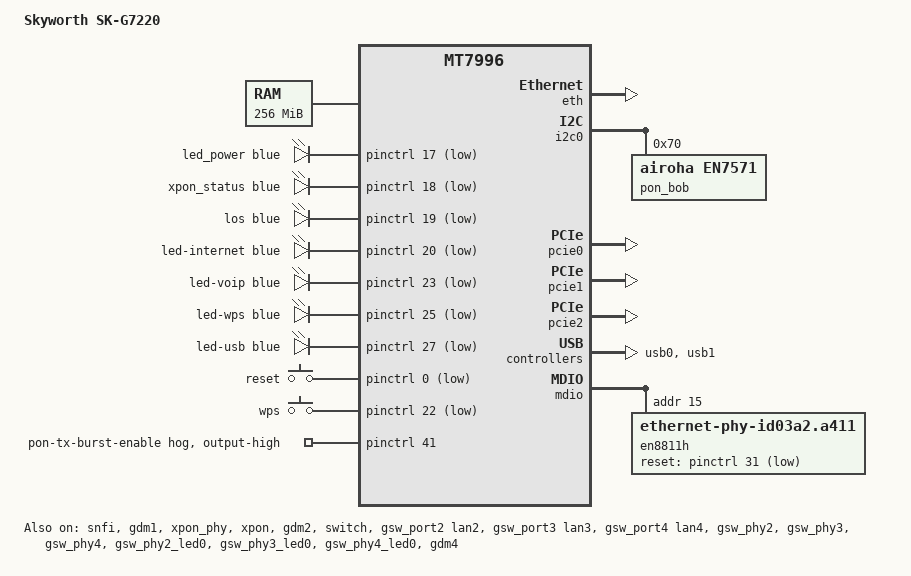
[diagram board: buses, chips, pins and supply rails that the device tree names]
// SPDX-License-Identifier: (GPL-2.0-only OR BSD-2-Clause)
/dts-v1/;

#include <dt-bindings/input/input.h>

#include "an7581.dtsi"
#include "an7581-npu-mt7996.dtsi"

/ {
	model = "Skyworth SK-G7220";
	compatible = "skyworth,sk-g7220", "airoha,an7581";

	aliases {
		serial0 = &uart1;
		led-boot = &led_power;
		led-failsafe = &led_power;
		led-running = &led_power;
		led-upgrade = &led_power;
	};

	chosen {
		stdout-path = "serial0:115200n8";
	};

	memory@80000000 {
		device_type = "memory";
		reg = <0x0 0x80000000 0x0 0x10000000>;
	};

	leds {
		compatible = "gpio-leds";

		led_power: led-power {
			gpios = <&pinctrl 17 GPIO_ACTIVE_LOW>;
			color = <LED_COLOR_ID_BLUE>;
			function = LED_FUNCTION_STATUS;
			function-enumerator = <17>;
			default-state = "on";
		};

		xpon_status: led-pon {
			gpios = <&pinctrl 18 GPIO_ACTIVE_LOW>;
			color = <LED_COLOR_ID_BLUE>;
			function = LED_FUNCTION_XPON;
			function-enumerator = <18>;
		};

		los: led-los {
			gpios = <&pinctrl 19 GPIO_ACTIVE_LOW>;
			color = <LED_COLOR_ID_BLUE>;
			function = LED_FUNCTION_XPON_LOS;
			function-enumerator = <19>;
		};

		led-internet {
			gpios = <&pinctrl 20 GPIO_ACTIVE_LOW>;
			color = <LED_COLOR_ID_BLUE>;
			function = LED_FUNCTION_WAN;
			function-enumerator = <20>;
		};

		led-voip {
			gpios = <&pinctrl 23 GPIO_ACTIVE_LOW>;
			color = <LED_COLOR_ID_BLUE>;
			function = LED_FUNCTION_VOIP;
			function-enumerator = <23>;
		};

		led-wps {
			gpios = <&pinctrl 25 GPIO_ACTIVE_LOW>;
			color = <LED_COLOR_ID_BLUE>;
			function = LED_FUNCTION_WPS;
			function-enumerator = <25>;
		};

		led-usb {
			gpios = <&pinctrl 27 GPIO_ACTIVE_LOW>;
			color = <LED_COLOR_ID_BLUE>;
			function = LED_FUNCTION_USB;
			function-enumerator = <27>;
		};
	};

	keys {
		/* OEM firmware polls these pins every 100 ms. */
		compatible = "gpio-keys-polled";
		poll-interval = <100>;

		key-reset {
			label = "reset";
			gpios = <&pinctrl 0 GPIO_ACTIVE_LOW>;
			linux,code = <KEY_RESTART>;
		};

		key-wps {
			label = "wps";
			gpios = <&pinctrl 22 GPIO_ACTIVE_LOW>;
			linux,code = <KEY_WPS_BUTTON>;
		};
	};
};

&pinctrl {
	mdio_pins: mdio-pins {
		mux {
			function = "mdio";
			groups = "mdio";
		};
	};

	/*
	 * OEM second GPIO bank, line 9 => GPIO line 41.
	 * The stock firmware exposes this signal as "phy_tx_ben" and
	 * configures it high by default. It is NOT an indicator LED.
	 * WARNING: output-high actively drives the line; confirm the
	 * board circuitry and burst control before connecting the PON.
	 */
	pon_tx_ben_hog: pon-tx-burst-enable-hog {
		gpio-hog;
		gpios = <41 GPIO_ACTIVE_HIGH>;
		output-high;
		line-name = "pon-tx-burst-enable";
	};
};

&snfi {
	status = "okay";
};

&spi_nand {
	/* OEM partition layout; do not flash a normal OpenWrt sysupgrade. */
	partitions {
		compatible = "fixed-partitions";
		#address-cells = <1>;
		#size-cells = <1>;

		partition@0 {
			label = "bootloader";
			reg = <0x00000000 0x00080000>;
			read-only;
		};

		partition@80000 {
			label = "tclinux";
			reg = <0x00080000 0x03c00000>;
			read-only;
		};

		partition@3c80000 {
			label = "tclinux_slave";
			reg = <0x03c80000 0x03c00000>;
			read-only;
		};

		partition@7880000 {
			label = "rootfs_data";
			reg = <0x07880000 0x00800000>;
			read-only;
		};

		partition@8080000 {
			label = "ubifs";
			reg = <0x08080000 0x02000000>;
			read-only;
		};

		partition@a080000 {
			label = "others";
			reg = <0x0a080000 0x00200000>;
			read-only;
		};

		/*
		 * mtd10 matches the full-flash dump at 0x0dc80000, byte-for-byte.
		 * The OEM DTB used a dynamic offset of 0xffffffff, so its
		 * node name is NOT reliable for the real start address.
		 * Keep board-specific calibration and identity data read-only.
		 * An unused 58 MiB gap precedes this partition; do not
		 * reclaim it without validating the OEM bootloader layout.
		 */
		partition@dc80000 {
			label = "art";
			reg = <0x0dc80000 0x00380000>;
			read-only;

			nvmem-layout {
				compatible = "fixed-layout";
				#address-cells = <1>;
				#size-cells = <1>;

				macaddr: macaddr@4f100 {
					reg = <0x000000 0x11>;
					compatible = "mac-base";
					#nvmem-cell-cells = <1>;
				};

				eeprom: eeprom@80000 {
					reg = <0x040000 0x1000>;
				};

				bob_calibration: bob_calibration@c0000 {
					reg = <0x260000 0xff>;
				};
			};
		};
	};
};

&eth {
	status = "okay";
};

&gdm1 {
	status = "okay";

	nvmem-cells = <&macaddr 0>;
	nvmem-cell-names = "mac-address";
};

&i2c0 {
	status = "okay";

	pon_bob: bob@70 {
		compatible = "airoha,en7571";
		reg = <0x70>;

		nvmem-cells = <&bob_calibration>;
		nvmem-cell-names = "calibration";

		#optical-frontend-cells = <0>;
	};
};

&xpon_phy {
	status = "okay";
};

&xpon {
	status = "okay";

	optical-frontends = <&pon_bob>;
	optical-frontend-names = "pon";

	leds = <&xpon_status>, <&los>;
	led-names = "pon", "los";
};

&gdm2 {
	status = "okay";
	phy-mode = "internal";

	nvmem-cells = <&macaddr 0>;
	nvmem-cell-names = "mac-address";

	/delete-property/ pcs-handle;

	openwrt,netdev-name = "pon0";
};

&pcie0 {
	status = "okay";
};

&pcie1 {
	status = "okay";
};

&pcie2 {
	status = "okay";
};

&pcie1_slot1 {
	mt7992@0,0 {
		reg = <0x0000 0 0 0 0>;

		#address-cells = <1>;
		#size-cells = <0>;

		nvmem-cells = <&eeprom>;
		nvmem-cell-names = "eeprom";

		airoha,npu = <&npu>;
		airoha,eth = <&eth>;

		band@0 {
			/* 2.4 GHz */
			reg = <0>;
			nvmem-cells = <&macaddr 1>;
			nvmem-cell-names = "mac-address";
		};

		band@1 {
			/* 5 GHz */
			reg = <1>;
			nvmem-cells = <&macaddr 2>;
			nvmem-cell-names = "mac-address";
		};

		band@2 {
			/* 6 GHz */
			reg = <2>;
			nvmem-cells = <&macaddr 3>;
			nvmem-cell-names = "mac-address";
		};
	};
};

&usb0 {
	status = "okay";
};

&usb1 {
	status = "okay";
};

&switch {
	pinctrl-names = "default";
	pinctrl-0 = <&mdio_pins>;

	status = "okay";
};

&gsw_port2 {
	label = "lan2";
	status = "okay";
};

&gsw_port3 {
	label = "lan3";
	status = "okay";
};

&gsw_port4 {
	label = "lan4";
	status = "okay";
};

&gsw_phy2 {
	status = "okay";
};

&gsw_phy3 {
	status = "okay";
};

&gsw_phy4 {
	status = "okay";
	color = <LED_COLOR_ID_BLUE>;
};

&gsw_phy2_led0 {
	status = "okay";
	color = <LED_COLOR_ID_BLUE>;
};

&gsw_phy3_led0 {
	status = "okay";
	color = <LED_COLOR_ID_BLUE>;
};

&gsw_phy4_led0 {
	status = "okay";
	color = <LED_COLOR_ID_BLUE>;
};

&mdio {
	en8811h: ethernet-phy@f {
		compatible = "ethernet-phy-id03a2.a411";
		reg = <0xf>;

		reset-gpios = <&pinctrl 31 GPIO_ACTIVE_LOW>;
		reset-assert-us = <10000>;
		reset-deassert-us = <20000>;

		leds {
			#address-cells = <1>;
			#size-cells = <0>;

			led-0 {
				reg = <0>;
				color = <LED_COLOR_ID_BLUE>;
				function = LED_FUNCTION_LAN;
				function-enumerator = <1>;
				default-state = "keep";
			};
		};
	};
};

&gdm4 {
	status = "okay";

	phy-mode = "2500base-x";
	phy-handle = <&en8811h>;

	nvmem-cells = <&macaddr 0>;
	nvmem-cell-names = "mac-address";

	openwrt,netdev-name = "lan1";
};
